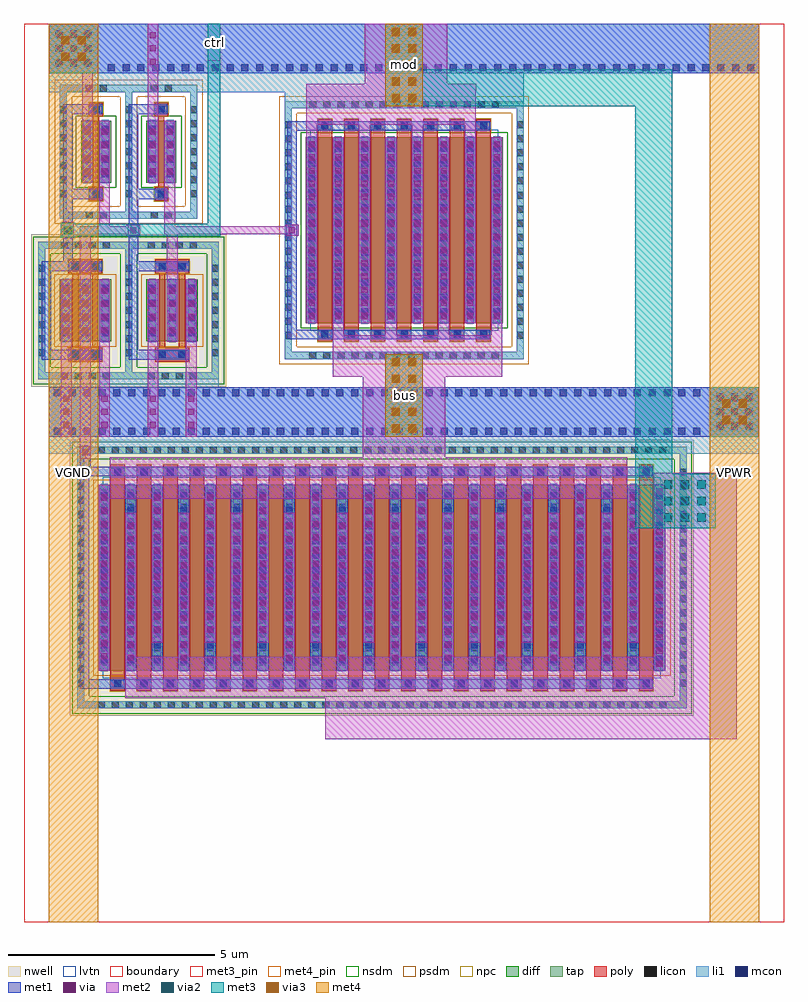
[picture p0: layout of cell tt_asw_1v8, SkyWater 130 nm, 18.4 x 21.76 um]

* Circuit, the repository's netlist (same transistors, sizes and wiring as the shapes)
** sch_path: /home/tnt/consult/tinytapeout/tt_asw_1v8/xschem/tt_asw_1v8.sch
.subckt tt_asw_1v8 VGND VPWR ctrl mod bus
*.iopin VPWR
*.iopin VGND
*.iopin mod
*.iopin bus
*.ipin ctrl
XM4 tgon tgon_n VGND VGND sky130_fd_pr__nfet_01v8 L=0.15 W=1.5 nf=1 ad='int((nf+1)/2) * W/nf * 0.29'
+ as='int((nf+2)/2) * W/nf * 0.29' pd='2*int((nf+1)/2) * (W/nf + 0.29)' ps='2*int((nf+2)/2) * (W/nf + 0.29)'
+ nrd='0.29 / W' nrs='0.29 / W' sa=0 sb=0 sd=0 mult=1 m=1
XM3 tgon tgon_n VPWR VPWR sky130_fd_pr__pfet_01v8 L=0.15 W=3 nf=2 ad='int((nf+1)/2) * W/nf * 0.29' as='int((nf+2)/2) * W/nf * 0.29'
+ pd='2*int((nf+1)/2) * (W/nf + 0.29)' ps='2*int((nf+2)/2) * (W/nf + 0.29)' nrd='0.29 / W' nrs='0.29 / W'
+ sa=0 sb=0 sd=0 mult=1 m=1
XM2 tgon_n ctrl VGND VGND sky130_fd_pr__nfet_01v8 L=0.15 W=1.5 nf=1 ad='int((nf+1)/2) * W/nf * 0.29'
+ as='int((nf+2)/2) * W/nf * 0.29' pd='2*int((nf+1)/2) * (W/nf + 0.29)' ps='2*int((nf+2)/2) * (W/nf + 0.29)'
+ nrd='0.29 / W' nrs='0.29 / W' sa=0 sb=0 sd=0 mult=1 m=1
XM1 tgon_n ctrl VPWR VPWR sky130_fd_pr__pfet_01v8 L=0.15 W=3 nf=2 ad='int((nf+1)/2) * W/nf * 0.29' as='int((nf+2)/2) * W/nf * 0.29'
+ pd='2*int((nf+1)/2) * (W/nf + 0.29)' ps='2*int((nf+2)/2) * (W/nf + 0.29)' nrd='0.29 / W' nrs='0.29 / W'
+ sa=0 sb=0 sd=0 mult=1 m=1
XM6 bus tgon mod VGND sky130_fd_pr__nfet_01v8_lvt L=0.35 W=31.5 nf=7 ad='int((nf+1)/2) * W/nf * 0.29'
+ as='int((nf+2)/2) * W/nf * 0.29' pd='2*int((nf+1)/2) * (W/nf + 0.29)' ps='2*int((nf+2)/2) * (W/nf + 0.29)'
+ nrd='0.29 / W' nrs='0.29 / W' sa=0 sb=0 sd=0 mult=1 m=1
XM5 bus tgon_n mod VPWR sky130_fd_pr__pfet_01v8_lvt L=0.35 W=94.5 nf=21 ad='int((nf+1)/2) * W/nf * 0.29'
+ as='int((nf+2)/2) * W/nf * 0.29' pd='2*int((nf+1)/2) * (W/nf + 0.29)' ps='2*int((nf+2)/2) * (W/nf + 0.29)'
+ nrd='0.29 / W' nrs='0.29 / W' sa=0 sb=0 sd=0 mult=1 m=1
**.ends
.end

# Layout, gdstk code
import gdstk
lib = gdstk.Library(unit=1e-6, precision=1e-09)
def R(c, l, rs):  # rectangles x0, y0, x1, y1
    for r in rs: c.add(gdstk.rectangle(r[:2], r[2:], *l))
def A(c, l, x, y, w, h, nx, ny, dx, dy):  # array of equal rectangles
    R(c, l, [(x+i*dx, y+j*dy, x+i*dx+w, y+j*dy+h) for i in range(nx) for j in range(ny)])
nwell = (64, 20)
diff = (65, 20)
tap = (65, 44)
poly = (66, 20)
licon = (66, 44)
li1 = (67, 20)
mcon = (67, 44)
met1 = (68, 20)
via = (68, 44)
met2 = (69, 20)
via2 = (69, 44)
met3_pin = (70, 16)
met3 = (70, 20)
via3 = (70, 44)
met4_pin = (71, 16)
met4 = (71, 20)
nsdm = (93, 44)
psdm = (94, 20)
npc = (95, 20)
lvtn = (125, 44)
boundary = (235, 4)

sky130_fd_pr__pfet_01v8_ = lib.new_cell('sky130_fd_pr__pfet_01v8_XJBLHL')
R(sky130_fd_pr__pfet_01v8_, nwell, [(-1.315,-1.845,1.315,1.845)])
R(sky130_fd_pr__pfet_01v8_, diff, [(-0.625,-0.75,0.625,0.75)])
R(sky130_fd_pr__pfet_01v8_, tap, [(-1.135,-1.665,1.135,-1.495), (-1.135,-1.495,-0.965,1.495), (0.965,-1.495,1.135,1.495), (-1.135,1.495,1.135,1.665)])
R(sky130_fd_pr__pfet_01v8_, poly, [(-0.41,-1.24,0.41,-0.9), (-0.315,-0.9,-0.165,0.9), (0.165,-0.9,0.315,0.9), (-0.41,0.9,0.41,1.24)])
A(sky130_fd_pr__pfet_01v8_, licon, -0.595, -1.665, 0.17, 0.17, 4, 2, 0.34, 3.16)
A(sky130_fd_pr__pfet_01v8_, licon, -1.135, -1.105, 0.17, 0.17, 1, 7, 0, 0.34)
A(sky130_fd_pr__pfet_01v8_, licon, 0.965, -1.105, 0.17, 0.17, 1, 7, 0, 0.34)
A(sky130_fd_pr__pfet_01v8_, licon, -0.565, -0.595, 0.17, 0.17, 3, 4, 0.48, 0.34)
R(sky130_fd_pr__pfet_01v8_, licon, [(-0.325,-1.155,-0.155,-0.985), (0.155,-1.155,0.325,-0.985), (-0.325,0.985,-0.155,1.155), (0.155,0.985,0.325,1.155)])
A(sky130_fd_pr__pfet_01v8_, li1, -0.565, -0.77, 0.17, 1.54, 3, 1, 0.48, 0)
R(sky130_fd_pr__pfet_01v8_, li1, [(-1.135,-1.665,1.135,-1.495), (-1.135,-1.495,-0.965,1.495), (0.965,-1.495,1.135,1.495), (-0.41,-1.16,0.41,-0.98), (-0.41,0.98,0.41,1.16), (-1.135,1.495,1.135,1.665)])
A(sky130_fd_pr__pfet_01v8_, mcon, -0.565, -0.625, 0.17, 0.17, 3, 4, 0.48, 0.36)
R(sky130_fd_pr__pfet_01v8_, mcon, [(-0.325,-1.155,-0.155,-0.985), (0.155,-1.155,0.325,-0.985), (-0.325,0.985,-0.155,1.155), (0.155,0.985,0.325,1.155)])
A(sky130_fd_pr__pfet_01v8_, met1, -0.595, -0.75, 0.23, 1.5, 3, 1, 0.48, 0)
R(sky130_fd_pr__pfet_01v8_, met1, [(-0.41,-1.19,0.41,-0.95), (-0.41,0.95,0.41,1.19)])
R(sky130_fd_pr__pfet_01v8_, nsdm, [(-1.26,-1.79,1.26,-1.37), (-1.26,-1.37,-0.84,1.37), (0.84,-1.37,1.26,1.37), (-1.26,1.37,1.26,1.79)])
R(sky130_fd_pr__pfet_01v8_, psdm, [(-0.75,-0.875,0.75,0.875)])
R(sky130_fd_pr__pfet_01v8_, npc, [(-0.425,-1.255,0.425,-0.885), (-0.425,0.885,0.425,1.255)])
R(sky130_fd_pr__pfet_01v8_, boundary, [(-1.05,-1.58,1.05,1.58)])

c_sky130_fd_pr__pfet_01v8_ = lib.new_cell('sky130_fd_pr__pfet_01v8_lvt_MUCXQQ')
R(c_sky130_fd_pr__pfet_01v8_, nwell, [(-7.555,-3.345,7.555,3.345)])
R(c_sky130_fd_pr__pfet_01v8_, diff, [(-6.865,-2.25,6.865,2.25)])
R(c_sky130_fd_pr__pfet_01v8_, tap, [(-7.375,-3.165,7.375,-2.995), (-7.375,-2.995,-7.205,2.995), (7.205,-2.995,7.375,2.995), (-7.375,2.995,7.375,3.165)])
A(c_sky130_fd_pr__pfet_01v8_, poly, -6.575, -2.735, 0.35, 5.47, 21, 1, 0.64, 0)
A(c_sky130_fd_pr__pfet_01v8_, licon, -6.885, -3.165, 0.17, 0.17, 41, 2, 0.34, 6.16)
A(c_sky130_fd_pr__pfet_01v8_, licon, -6.485, -2.655, 0.17, 0.17, 21, 2, 0.64, 5.14)
A(c_sky130_fd_pr__pfet_01v8_, licon, -7.375, -2.635, 0.17, 0.17, 1, 16, 0, 0.34)
A(c_sky130_fd_pr__pfet_01v8_, licon, 7.205, -2.635, 0.17, 0.17, 1, 16, 0, 0.34)
A(c_sky130_fd_pr__pfet_01v8_, licon, -6.805, -2.125, 0.17, 0.17, 22, 13, 0.64, 0.34)
A(c_sky130_fd_pr__pfet_01v8_, li1, -6.575, -2.655, 0.35, 0.17, 21, 2, 0.64, 5.14)
A(c_sky130_fd_pr__pfet_01v8_, li1, -6.805, -2.27, 0.17, 4.54, 22, 1, 0.64, 0)
R(c_sky130_fd_pr__pfet_01v8_, li1, [(-7.375,-3.165,7.375,-2.995), (-7.375,-2.995,-7.205,2.995), (7.205,-2.995,7.375,2.995), (-7.375,2.995,7.375,3.165)])
A(c_sky130_fd_pr__pfet_01v8_, mcon, -6.485, -2.655, 0.17, 0.17, 21, 2, 0.64, 5.14)
A(c_sky130_fd_pr__pfet_01v8_, mcon, -6.805, -2.065, 0.17, 0.17, 22, 12, 0.64, 0.36)
A(c_sky130_fd_pr__pfet_01v8_, met1, -6.555, -2.685, 0.31, 0.23, 21, 2, 0.64, 5.14)
A(c_sky130_fd_pr__pfet_01v8_, met1, -6.835, -2.25, 0.23, 4.5, 22, 1, 0.64, 0)
R(c_sky130_fd_pr__pfet_01v8_, nsdm, [(-7.5,-3.29,7.5,-2.87), (-7.5,-2.87,-7.08,2.87), (7.08,-2.87,7.5,2.87), (-7.5,2.87,7.5,3.29)])
R(c_sky130_fd_pr__pfet_01v8_, psdm, [(-6.99,-2.375,6.99,2.375)])
A(c_sky130_fd_pr__pfet_01v8_, npc, -6.585, -2.755, 0.37, 0.37, 21, 2, 0.64, 5.14)
R(c_sky130_fd_pr__pfet_01v8_, lvtn, [(-6.755,-2.43,6.755,2.43)])
R(c_sky130_fd_pr__pfet_01v8_, boundary, [(-7.29,-3.08,7.29,3.08)])

sky130_fd_pr__nfet_01v8_ = lib.new_cell('sky130_fd_pr__nfet_01v8_NRQ53D')
R(sky130_fd_pr__nfet_01v8_, diff, [(-0.365,-0.75,0.365,0.75)])
R(sky130_fd_pr__nfet_01v8_, tap, [(-0.875,-1.62,0.875,-1.45), (-0.875,-1.45,-0.705,1.45), (0.705,-1.45,0.875,1.45), (-0.875,1.45,0.875,1.62)])
R(sky130_fd_pr__nfet_01v8_, poly, [(-0.165,-1.19,0.165,-0.86), (-0.075,-0.86,0.075,0.86), (-0.165,0.86,0.165,1.19)])
A(sky130_fd_pr__nfet_01v8_, licon, -0.875, -1.105, 0.17, 0.17, 1, 7, 0, 0.34)
A(sky130_fd_pr__nfet_01v8_, licon, 0.705, -1.105, 0.17, 0.17, 1, 7, 0, 0.34)
A(sky130_fd_pr__nfet_01v8_, licon, -0.305, -0.595, 0.17, 0.17, 1, 4, 0, 0.34)
A(sky130_fd_pr__nfet_01v8_, licon, 0.135, -0.595, 0.17, 0.17, 1, 4, 0, 0.34)
R(sky130_fd_pr__nfet_01v8_, licon, [(-0.255,-1.62,-0.085,-1.45), (0.085,-1.62,0.255,-1.45), (-0.085,-1.11,0.085,-0.94), (-0.085,0.94,0.085,1.11), (-0.255,1.45,-0.085,1.62), (0.085,1.45,0.255,1.62)])
R(sky130_fd_pr__nfet_01v8_, li1, [(-0.875,-1.62,0.875,-1.45), (-0.875,-1.45,-0.705,1.45), (0.705,-1.45,0.875,1.45), (-0.165,-1.11,0.165,-0.94), (-0.305,-0.77,-0.135,0.77), (0.135,-0.77,0.305,0.77), (-0.165,0.94,0.165,1.11), (-0.875,1.45,0.875,1.62)])
A(sky130_fd_pr__nfet_01v8_, mcon, -0.305, -0.625, 0.17, 0.17, 1, 4, 0, 0.36)
A(sky130_fd_pr__nfet_01v8_, mcon, 0.135, -0.625, 0.17, 0.17, 1, 4, 0, 0.36)
R(sky130_fd_pr__nfet_01v8_, mcon, [(-0.085,-1.11,0.085,-0.94), (-0.085,0.94,0.085,1.11)])
R(sky130_fd_pr__nfet_01v8_, met1, [(-0.145,-1.14,0.145,-0.91), (-0.335,-0.75,-0.105,0.75), (0.105,-0.75,0.335,0.75), (-0.145,0.91,0.145,1.14)])
R(sky130_fd_pr__nfet_01v8_, nsdm, [(-0.49,-0.875,0.49,0.875)])
R(sky130_fd_pr__nfet_01v8_, psdm, [(-1,-1.745,1,-1.325), (-1,-1.325,-0.58,1.325), (0.58,-1.325,1,1.325), (-1,1.325,1,1.745)])
R(sky130_fd_pr__nfet_01v8_, npc, [(-0.185,-1.21,0.185,-0.84), (-0.185,0.84,0.185,1.21)])
R(sky130_fd_pr__nfet_01v8_, boundary, [(-0.79,-1.535,0.79,1.535)])

c_sky130_fd_pr__nfet_01v8_ = lib.new_cell('sky130_fd_pr__nfet_01v8_lvt_9LK66Y')
R(c_sky130_fd_pr__nfet_01v8_, diff, [(-2.385,-2.25,2.385,2.25)])
R(c_sky130_fd_pr__nfet_01v8_, tap, [(-2.895,-3.12,2.895,-2.95), (-2.895,-2.95,-2.725,2.95), (2.725,-2.95,2.895,2.95), (-2.895,2.95,2.895,3.12)])
A(c_sky130_fd_pr__nfet_01v8_, poly, -2.095, -2.69, 0.35, 5.38, 7, 1, 0.64, 0)
A(c_sky130_fd_pr__nfet_01v8_, licon, -2.295, -3.12, 0.17, 0.17, 14, 2, 0.34, 6.07)
A(c_sky130_fd_pr__nfet_01v8_, licon, -2.895, -2.635, 0.17, 0.17, 1, 16, 0, 0.34)
A(c_sky130_fd_pr__nfet_01v8_, licon, 2.725, -2.635, 0.17, 0.17, 1, 16, 0, 0.34)
A(c_sky130_fd_pr__nfet_01v8_, licon, -2.005, -2.61, 0.17, 0.17, 7, 2, 0.64, 5.05)
A(c_sky130_fd_pr__nfet_01v8_, licon, -2.325, -2.125, 0.17, 0.17, 8, 13, 0.64, 0.34)
A(c_sky130_fd_pr__nfet_01v8_, li1, -2.095, -2.61, 0.35, 0.17, 7, 2, 0.64, 5.05)
A(c_sky130_fd_pr__nfet_01v8_, li1, -2.325, -2.27, 0.17, 4.54, 8, 1, 0.64, 0)
R(c_sky130_fd_pr__nfet_01v8_, li1, [(-2.895,-3.12,2.895,-2.95), (-2.895,-2.95,-2.725,2.95), (2.725,-2.95,2.895,2.95), (-2.895,2.95,2.895,3.12)])
A(c_sky130_fd_pr__nfet_01v8_, mcon, -2.005, -2.61, 0.17, 0.17, 7, 2, 0.64, 5.05)
A(c_sky130_fd_pr__nfet_01v8_, mcon, -2.325, -2.065, 0.17, 0.17, 8, 12, 0.64, 0.36)
A(c_sky130_fd_pr__nfet_01v8_, met1, -2.075, -2.64, 0.31, 0.23, 7, 2, 0.64, 5.05)
A(c_sky130_fd_pr__nfet_01v8_, met1, -2.355, -2.25, 0.23, 4.5, 8, 1, 0.64, 0)
R(c_sky130_fd_pr__nfet_01v8_, nsdm, [(-2.51,-2.375,2.51,2.375)])
R(c_sky130_fd_pr__nfet_01v8_, psdm, [(-3.02,-3.245,3.02,-2.825), (-3.02,-2.825,-2.6,2.825), (2.6,-2.825,3.02,2.825), (-3.02,2.825,3.02,3.245)])
A(c_sky130_fd_pr__nfet_01v8_, npc, -2.105, -2.71, 0.37, 0.37, 7, 2, 0.64, 5.05)
R(c_sky130_fd_pr__nfet_01v8_, lvtn, [(-2.275,-2.43,2.275,2.43)])
R(c_sky130_fd_pr__nfet_01v8_, boundary, [(-2.81,-3.035,2.81,3.035)])

tt_asw_1v8 = lib.new_cell('tt_asw_1v8')
R(tt_asw_1v8, li1, [(0.6,11.34,17.8,12.96), (0.6,12.96,4.72,13.32), (6.31,19.71,12.1,20.1), (0.6,20.1,12.1,20.56), (0.6,20.56,17.8,21.76)])
A(tt_asw_1v8, mcon, 0.725, 11.81, 0.17, 0.17, 44, 2, 0.36, 0.93)
A(tt_asw_1v8, mcon, 16.755, 11.915, 0.17, 0.17, 3, 3, 0.36, 0.36)
A(tt_asw_1v8, mcon, 2.025, 20.61, 0.17, 0.17, 44, 1, 0.36, 0)
A(tt_asw_1v8, mcon, 0.755, 20.715, 0.17, 0.17, 3, 3, 0.36, 0.36)
A(tt_asw_1v8, met1, 1.81, 6.09, 0.27, 4.51, 22, 1, 0.64, 0)
A(tt_asw_1v8, met1, 6.83, 14.51, 0.27, 4.5, 8, 1, 0.64, 0)
R(tt_asw_1v8, met1, [(1.35,5.66,15.22,5.89), (1.35,5.89,1.58,10.8), (1.35,10.8,15.22,11.03), (1.35,11.03,1.62,11.54), (0.6,11.76,17.8,12.96), (0.43,13.62,1.9,13.87), (2.53,13.62,4,13.87), (0.43,13.87,0.66,15.76), (2.53,13.87,2.76,15.76), (0.89,14.06,1.15,15.57), (1.35,14.06,1.62,15.57), (1.82,14.06,2.08,15.57), (2.99,14.06,3.25,15.57), (3.45,14.06,3.72,15.57), (3.92,14.06,4.18,15.57), (6.37,14.12,11.28,14.35), (6.37,14.35,6.6,16.6), (0.43,15.76,1.9,16.01), (2.53,15.76,4,16.01), (0.95,16.01,1.18,16.58), (2.53,16.01,2.76,16.6), (0.92,16.58,1.21,16.94), (2.51,16.6,2.78,16.92), (6.35,16.6,6.62,16.92), (2.53,16.92,2.76,17.51), (6.37,16.92,6.6,19.17), (0.95,16.94,1.18,17.51), (0.95,17.51,1.89,17.76), (2.53,17.51,3.47,17.76), (0.95,17.76,1.18,19.56), (2.53,17.76,2.76,19.56), (1.41,17.91,1.67,19.41), (1.82,17.91,2.08,19.41), (2.99,17.91,3.25,19.41), (3.4,17.91,3.66,19.41), (6.37,19.17,11.28,19.4), (0.95,19.56,1.89,19.81), (2.53,19.56,3.47,19.81), (0.6,20.56,17.8,21.76)])
A(tt_asw_1v8, via, 15.31, 6.19, 0.15, 0.15, 1, 14, 0, 0.32)
A(tt_asw_1v8, via, 2.51, 6.33, 0.15, 0.15, 10, 11, 1.28, 0.32)
A(tt_asw_1v8, via, 1.87, 7.01, 0.15, 0.15, 11, 11, 1.28, 0.32)
A(tt_asw_1v8, via, 0.945, 11.965, 0.15, 0.15, 1, 3, 0, 0.32)
A(tt_asw_1v8, via, 1.875, 11.965, 0.15, 0.15, 1, 3, 0, 0.32)
A(tt_asw_1v8, via, 3.045, 11.965, 0.15, 0.15, 1, 3, 0, 0.32)
A(tt_asw_1v8, via, 3.975, 11.965, 0.15, 0.15, 1, 3, 0, 0.32)
A(tt_asw_1v8, via, 16.805, 11.965, 0.15, 0.15, 3, 3, 0.32, 0.32)
A(tt_asw_1v8, via, 0.945, 14.26, 0.15, 0.15, 3, 4, 0.465, 0.32)
A(tt_asw_1v8, via, 3.045, 14.26, 0.15, 0.15, 3, 4, 0.465, 0.32)
A(tt_asw_1v8, via, 6.89, 14.605, 0.15, 0.15, 8, 14, 0.64, 0.32)
A(tt_asw_1v8, via, 1.465, 18.105, 0.15, 0.15, 1, 4, 0, 0.32)
A(tt_asw_1v8, via, 1.875, 18.105, 0.15, 0.15, 1, 4, 0, 0.32)
A(tt_asw_1v8, via, 3.045, 18.105, 0.15, 0.15, 1, 4, 0, 0.32)
A(tt_asw_1v8, via, 3.455, 18.105, 0.15, 0.15, 1, 4, 0, 0.32)
A(tt_asw_1v8, via, 0.805, 20.765, 0.15, 0.15, 3, 3, 0.32, 0.32)
A(tt_asw_1v8, via, 3.045, 20.765, 0.15, 0.15, 1, 3, 0, 0.32)
R(tt_asw_1v8, via, [(1.87,6.37,2.02,6.52), (1.87,6.69,2.02,6.84), (1.41,11.305,1.56,11.455), (0.99,16.685,1.14,16.835), (2.57,16.685,2.72,16.835), (6.41,16.685,6.56,16.835)])
A(tt_asw_1v8, met2, 2.45, 6.43, 0.27, 3.49, 10, 1, 1.28, 0)
A(tt_asw_1v8, met2, 3.09, 6.77, 0.27, 3.49, 10, 1, 1.28, 0)
A(tt_asw_1v8, met2, 7.47, 14.21, 0.27, 4.8, 4, 1, 1.28, 0)
A(tt_asw_1v8, met2, 6.83, 14.51, 0.27, 4.8, 4, 1, 1.28, 0)
R(tt_asw_1v8, met2, [(7.29,4.43,17.25,5.43), (2.45,5.43,17.25,6.43), (1.81,6.09,2.08,10.26), (15.25,6.43,17.25,10.88), (1.81,10.26,14.89,10.6), (2.08,10.6,14.61,11.26), (1.35,11.22,1.62,16.66), (8.2,11.26,10.2,13.21), (0.89,11.76,1.15,15.57), (1.82,11.76,2.08,15.57), (2.99,11.76,3.25,15.57), (3.92,11.76,4.18,15.57), (16.6,11.76,17.8,12.96), (7.47,13.21,11.58,14.21), (3.45,14.06,3.72,16.66), (0.92,16.56,1.21,16.96), (2.48,16.63,2.81,16.66), (6.32,16.63,6.65,16.66), (1.35,16.66,2.81,16.86), (3.4,16.66,6.65,16.86), (1.82,16.86,2.08,19.41), (2.48,16.86,2.81,16.89), (3.4,16.86,3.66,19.41), (6.32,16.86,6.65,16.89), (1.41,17.91,1.67,20.56), (2.99,17.91,3.25,21.76), (6.83,19.31,10.94,20.13), (6.83,20.13,10.95,20.31), (8.25,20.31,10.25,21.76), (0.6,20.56,1.8,21.76)])
A(tt_asw_1v8, via2, 15.5, 9.7, 0.2, 0.2, 3, 3, 0.4, 0.4)
A(tt_asw_1v8, via2, 8.9, 11.86, 0.2, 0.2, 1, 5, 0, 0.4)
A(tt_asw_1v8, via2, 9.3, 11.86, 0.2, 0.2, 1, 5, 0, 0.4)
A(tt_asw_1v8, via2, 8.9, 19.86, 0.2, 0.2, 1, 5, 0, 0.4)
A(tt_asw_1v8, via2, 9.3, 19.86, 0.2, 0.2, 1, 5, 0, 0.4)
R(tt_asw_1v8, via2, [(16.9,12.06,17.1,12.26), (17.3,12.06,17.5,12.26), (16.9,12.46,17.1,12.66), (17.3,12.46,17.5,12.66), (0.965,16.66,1.165,16.86), (0.9,20.86,1.1,21.06), (1.3,20.86,1.5,21.06), (0.9,21.26,1.1,21.46), (1.3,21.26,1.5,21.46)])
R(tt_asw_1v8, met3_pin, [(4.45,20.86,4.75,21.76)])
R(tt_asw_1v8, met3, [(14.8,9.54,16.75,10.86), (14.8,10.86,15.7,19.76), (8.75,11.76,9.65,13.76), (16.6,11.76,17.8,12.96), (0.89,16.58,1.24,16.61), (0.89,16.61,4.75,16.91), (0.89,16.91,1.24,16.94), (4.45,16.91,4.75,21.76), (8.75,19.76,15.7,20.66), (0.6,20.56,1.8,21.76), (8.75,20.66,9.65,21.76)])
A(tt_asw_1v8, via3, 8.9, 11.86, 0.2, 0.2, 1, 5, 0, 0.4)
A(tt_asw_1v8, via3, 9.3, 11.86, 0.2, 0.2, 1, 5, 0, 0.4)
A(tt_asw_1v8, via3, 8.9, 19.86, 0.2, 0.2, 1, 5, 0, 0.4)
A(tt_asw_1v8, via3, 9.3, 19.86, 0.2, 0.2, 1, 5, 0, 0.4)
R(tt_asw_1v8, via3, [(16.9,12.06,17.1,12.26), (17.3,12.06,17.5,12.26), (16.9,12.46,17.1,12.66), (17.3,12.46,17.5,12.66), (0.9,20.86,1.1,21.06), (1.3,20.86,1.5,21.06), (0.9,21.26,1.1,21.46), (1.3,21.26,1.5,21.46)])
R(tt_asw_1v8, met4_pin, [(0.6,0,1.8,21.76), (16.6,0,17.8,21.76), (8.75,11.76,9.65,13.76), (8.75,19.76,9.65,21.76)])
R(tt_asw_1v8, met4, [(0.6,0,1.8,21.76), (16.6,0,17.8,21.76), (8.75,11.76,9.65,13.76), (8.75,19.76,9.65,21.76)])
R(tt_asw_1v8, boundary, [(0,0,18.4,21.76)])
tt_asw_1v8.add(gdstk.Reference(sky130_fd_pr__pfet_01v8_, (3.585,14.815)))
tt_asw_1v8.add(gdstk.Reference(sky130_fd_pr__pfet_01v8_, (1.485,14.815)))
tt_asw_1v8.add(gdstk.Reference(c_sky130_fd_pr__pfet_01v8_, (8.665,8.345)))
tt_asw_1v8.add(gdstk.Reference(sky130_fd_pr__nfet_01v8_, (1.745,18.66)))
tt_asw_1v8.add(gdstk.Reference(sky130_fd_pr__nfet_01v8_, (3.325,18.66)))
tt_asw_1v8.add(gdstk.Reference(c_sky130_fd_pr__nfet_01v8_, (9.205,16.76)))
tt_asw_1v8.add(gdstk.Label('VGND', (1.2,10.88), layer=71, texttype=5))
tt_asw_1v8.add(gdstk.Label('VPWR', (17.2,10.88), layer=71, texttype=5))
tt_asw_1v8.add(gdstk.Label('mod', (9.2,20.76), layer=71, texttype=5))
tt_asw_1v8.add(gdstk.Label('bus', (9.2,12.76), layer=71, texttype=5))
tt_asw_1v8.add(gdstk.Label('ctrl', (4.6,21.31), layer=70, texttype=5))

lib.write_gds('tt_asw_1v8.gds')
